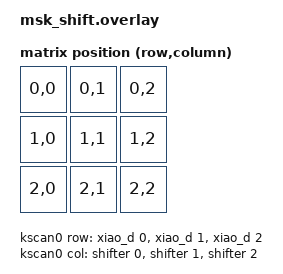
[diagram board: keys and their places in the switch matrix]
#include <dt-bindings/zmk/matrix_transform.h>
#include "msk_shift.dtsi"

/ { 
    chosen {
        zmk,kscan = &kscan0;
        zmk,matrix-transform = &default_transform;
    };

    default_transform: keymap_transform0 {
        compatible = "zmk,matrix-transform";
        columns = <3>; // Length of the "col-gpios" array
        rows = <3>; // Length of the "row-gpios" array
        map = <
            RC(0,0) RC(0,1) RC(0,2)
            RC(1,0) RC(1,1) RC(1,2)
            RC(2,0) RC(2,1) RC(2,2)
        >;
    };

    kscan0: kscan0 {
        compatible = "zmk,kscan-gpio-matrix";
        diode-direction = "col2row";  

        col-gpios
            = <&shifter 0 GPIO_ACTIVE_HIGH> // col1 in the schematic
            , <&shifter 1 GPIO_ACTIVE_HIGH> // col2 in the schematic
            , <&shifter 2 GPIO_ACTIVE_HIGH> // col3 in the schematic
            ;

        row-gpios
            = <&xiao_d 0 (GPIO_ACTIVE_HIGH | GPIO_PULL_DOWN)> // Row A from the schematic file
            , <&xiao_d 1 (GPIO_ACTIVE_HIGH | GPIO_PULL_DOWN)> // Row B from the schematic file
            , <&xiao_d 2 (GPIO_ACTIVE_HIGH | GPIO_PULL_DOWN)> // Row C from the schematic file
            ;
        
    };
};
